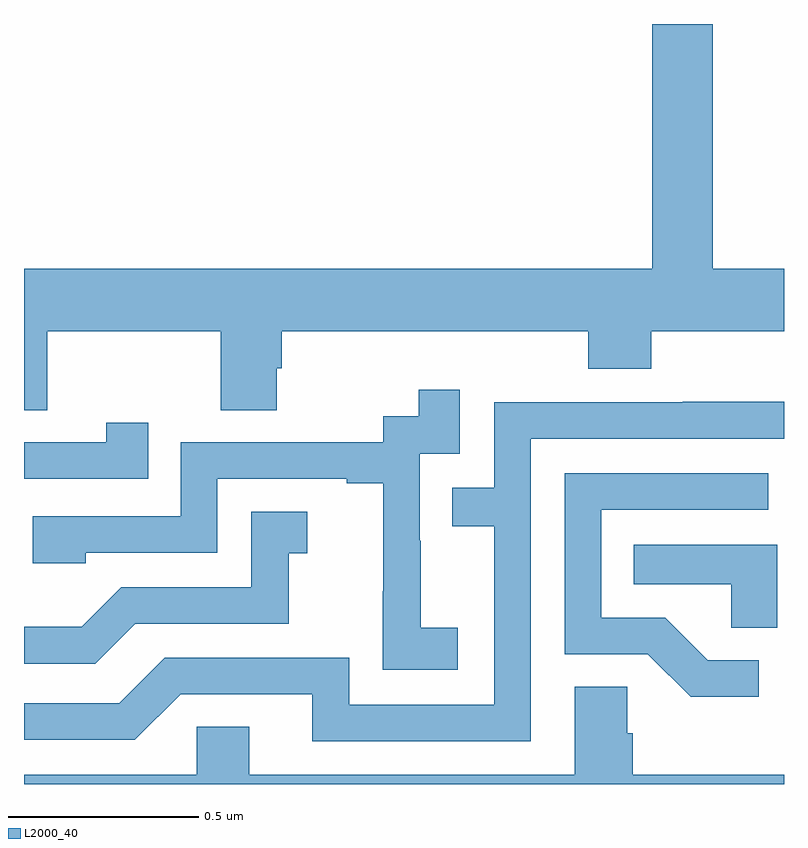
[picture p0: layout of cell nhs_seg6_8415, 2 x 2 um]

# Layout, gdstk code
import gdstk
lib = gdstk.Library(unit=1e-6, precision=1e-09)
def P(c, l, *ps):  # polygons
    for p in ps: c.add(gdstk.Polygon(p, *l))
L2000_40 = (2000, 40)

nhs_seg6_8415 = lib.new_cell('nhs_seg6_8415')
P(nhs_seg6_8415, L2000_40, [(221.061,924.692),(221.518,924.692),(221.518,924.484),(221.665,924.484),(221.665,924.594),(221.678,924.594),(221.678,924.692),(222.485,924.692),(222.485,924.593),(222.65,924.593),(222.65,924.692),(223,924.692),(223,924.856),(222.813,924.856),(222.813,925.5),(222.653,925.5),(222.653,924.856),(221,924.856),(221,924.484),(221.061,924.484)],
  [(222.142,923.911),(222.044,923.911),(222.044,924.14),(222.042,924.14),(222.042,924.369),(222.147,924.369),(222.147,924.538),(222.039,924.538),(222.039,924.468),(221.946,924.468),(221.946,924.399),(221.412,924.399),(221.412,924.204),(221.023,924.204),(221.023,924.081),(221.163,924.081),(221.163,924.108),(221.508,924.108),(221.508,924.303),(221.849,924.303),(221.849,924.291),(221.945,924.291),(221.945,924.007),(221.944,924.007),(221.944,923.801),(222.142,923.801)],
  [(222.333,924.408),(223,924.408),(223,924.506),(222.733,924.506),(222.733,924.504),(222.237,924.504),(222.237,924.279),(222.127,924.279),(222.127,924.178),(222.237,924.178),(222.237,923.709),(221.856,923.709),(221.856,923.832),(221.37,923.832),(221.25,923.712),(221,923.712),(221,923.616),(221.292,923.616),(221.412,923.736),(221.759,923.736),(221.759,923.613),(222.333,923.613)],
  [(221.327,924.451),(221.216,924.451),(221.216,924.399),(221,924.399),(221,924.303),(221.327,924.303)],
  [(222.934,923.826),(222.799,923.826),(222.688,923.937),(222.519,923.937),(222.519,924.222),(222.958,924.222),(222.958,924.318),(222.423,924.318),(222.423,923.841),(222.642,923.841),(222.755,923.729),(222.934,923.729)],
  [(221.293,923.922),(221.697,923.922),(221.697,924.107),(221.746,924.107),(221.746,924.217),(221.598,924.217),(221.598,924.018),(221.256,924.018),(221.152,923.914),(221,923.914),(221,923.817),(221.188,923.817)],
  [(222.982,924.13),(222.604,924.13),(222.604,924.026),(222.861,924.026),(222.861,923.911),(222.982,923.911)],
  [(223,923.524),(222.602,923.524),(222.602,923.633),(222.588,923.633),(222.588,923.756),(222.449,923.756),(222.449,923.524),(221.593,923.524),(221.593,923.651),(221.454,923.651),(221.454,923.524),(221,923.524),(221,923.5),(223,923.5)])

lib.write_gds('nhs_seg6_8415.gds')
